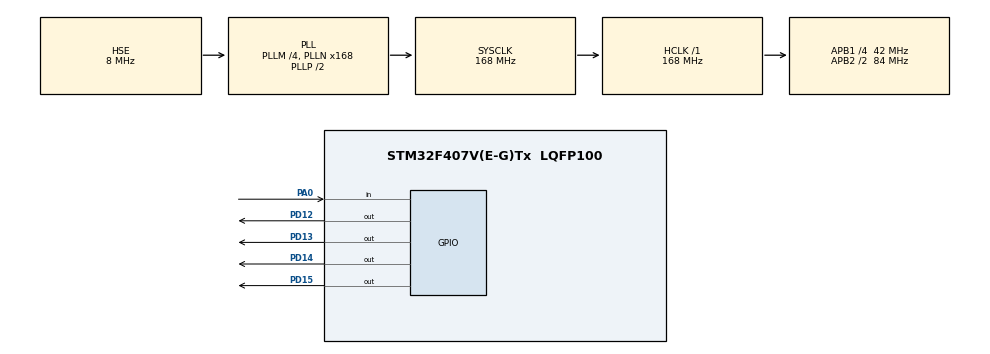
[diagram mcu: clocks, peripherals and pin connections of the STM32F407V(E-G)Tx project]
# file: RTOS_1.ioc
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FREERTOS.BinarySemaphores01=myBinarySem01,Dynamic,NULL
FREERTOS.Tasks01=defaultTask,0,128,StartDefaultTask,Default,NULL,Dynamic,NULL,NULL;task1,0,128,task1_fc,Default,NULL,Dynamic,NULL,NULL;task3,0,128,StartTask03,Default,NULL,Dynamic,NULL,NULL;task4,0,128,StartTask04,Default,NULL,Dynamic,NULL,NULL
FREERTOS.configUSE_NEWLIB_REENTRANT=1
Mcu.Family=STM32F4
Mcu.Name=STM32F407V(E-G)Tx
Mcu.Package=LQFP100
NVIC.PriorityGroup=NVIC_PRIORITYGROUP_4
NVIC.TIM1_UP_TIM10_IRQn=true\:0\:0\:false\:false\:true\:false\:false\:true
NVIC.TimeBase=TIM1_UP_TIM10_IRQn
NVIC.TimeBaseIP=TIM1
PA0-WKUP.Signal=GPIO_Input
PD12.Signal=GPIO_Output
PD13.Signal=GPIO_Output
PD14.Signal=GPIO_Output
PD15.Signal=GPIO_Output
PH0-OSC_IN.Mode=HSE-External-Oscillator
PH0-OSC_IN.Signal=RCC_OSC_IN
PH1-OSC_OUT.Mode=HSE-External-Oscillator
PH1-OSC_OUT.Signal=RCC_OSC_OUT
ProjectManager.HeapSize=0x200
ProjectManager.StackSize=0x400
ProjectManager.TargetToolchain=STM32CubeIDE
RCC.48MHZClocksFreq_Value=48000000
RCC.AHBFreq_Value=168000000
RCC.APB1CLKDivider=RCC_HCLK_DIV4
RCC.APB1Freq_Value=42000000
RCC.APB1TimFreq_Value=84000000
RCC.APB2CLKDivider=RCC_HCLK_DIV2
RCC.APB2Freq_Value=84000000
RCC.APB2TimFreq_Value=168000000
RCC.CortexFreq_Value=168000000
RCC.HCLKFreq_Value=168000000
RCC.HSE_VALUE=8000000
RCC.HSI_VALUE=16000000
RCC.LSE_VALUE=32768
RCC.PLLM=4
RCC.PLLN=168
RCC.PLLQ=7
RCC.PLLSourceVirtual=RCC_PLLSOURCE_HSE
RCC.SYSCLKFreq_VALUE=168000000
RCC.SYSCLKSource=RCC_SYSCLKSOURCE_PLLCLK
RCC.VCOOutputFreq_Value=336000000
VP_FREERTOS_VS_CMSIS_V1.Mode=CMSIS_V1
VP_SYS_VS_tim1.Mode=TIM1
board=STM32F407G-DISC1

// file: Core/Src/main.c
/* USER CODE BEGIN Header */
/**
  ******************************************************************************
  * @file           : main.c
  * @brief          : Main program body
  ******************************************************************************
  * @attention
  *
  * Copyright (c) 2024 STMicroelectronics.
  * All rights reserved.
  *
  * This software is licensed under terms that can be found in the LICENSE file
  * in the root directory of this software component.
  * If no LICENSE file comes with this software, it is provided AS-IS.
  *
  ******************************************************************************
  */
/* USER CODE END Header */
#include "main.h"
#include "cmsis_os.h"

/* USER CODE BEGIN Includes */
#include "stdio.h"
/* USER CODE END Includes */

osThreadId defaultTaskHandle;
osThreadId task1Handle;
osThreadId task3Handle;
osThreadId task4Handle;
osSemaphoreId myBinarySem01Handle;

void SystemClock_Config(void);
static void MX_GPIO_Init(void);
void StartDefaultTask(void const * argument);
void task1_fc(void const * argument);
void StartTask03(void const * argument);
void StartTask04(void const * argument);

/* USER CODE BEGIN 0 */
int _write(int file, char *ptr, int len)
{
	int DataIdx;

	for (DataIdx = 0; DataIdx < len; DataIdx++)
	{
		ITM_SendChar(*ptr++);
	}
	return len;
}
/* USER CODE END 0 */

int main(void)
{

  /* MCU Configuration--------------------------------------------------------*/

  /* Reset of all peripherals, Initializes the Flash interface and the Systick. */
  HAL_Init();

  /* Configure the system clock */
  SystemClock_Config();

  /* Initialize all configured peripherals */
  MX_GPIO_Init();

  /* Create the semaphores(s) */
  /* definition and creation of myBinarySem01 */
  osSemaphoreDef(myBinarySem01);
  myBinarySem01Handle = osSemaphoreCreate(osSemaphore(myBinarySem01), 1);

  /* Create the thread(s) */
  /* definition and creation of defaultTask */
  osThreadDef(defaultTask, StartDefaultTask, osPriorityNormal, 0, 128);
  defaultTaskHandle = osThreadCreate(osThread(defaultTask), NULL);

  /* definition and creation of task1 */
  osThreadDef(task1, task1_fc, osPriorityNormal, 0, 128);
  task1Handle = osThreadCreate(osThread(task1), NULL);

  /* definition and creation of task3 */
  osThreadDef(task3, StartTask03, osPriorityNormal, 0, 128);
  task3Handle = osThreadCreate(osThread(task3), NULL);

  /* definition and creation of task4 */
  osThreadDef(task4, StartTask04, osPriorityNormal, 0, 128);
  task4Handle = osThreadCreate(osThread(task4), NULL);

osThreadSuspend(task1Handle);
osThreadSuspend(task3Handle);
osThreadSuspend(task4Handle);
  /* Start scheduler */
  osKernelStart();

  /* We should never get here as control is now taken by the scheduler */
  /* Infinite loop */
  while (1)
  {

  }
}

void SystemClock_Config(void)
{
  RCC_OscInitTypeDef RCC_OscInitStruct = {0};
  RCC_ClkInitTypeDef RCC_ClkInitStruct = {0};

  /** Configure the main internal regulator output voltage
  */
  __HAL_RCC_PWR_CLK_ENABLE();
  __HAL_PWR_VOLTAGESCALING_CONFIG(PWR_REGULATOR_VOLTAGE_SCALE1);
  /** Initializes the RCC Oscillators according to the specified parameters
  * in the RCC_OscInitTypeDef structure.
  */
  RCC_OscInitStruct.OscillatorType = RCC_OSCILLATORTYPE_HSE;
  RCC_OscInitStruct.HSEState = RCC_HSE_ON;
  RCC_OscInitStruct.PLL.PLLState = RCC_PLL_ON;
  RCC_OscInitStruct.PLL.PLLSource = RCC_PLLSOURCE_HSE;
  RCC_OscInitStruct.PLL.PLLM = 4;
  RCC_OscInitStruct.PLL.PLLN = 168;
  RCC_OscInitStruct.PLL.PLLP = RCC_PLLP_DIV2;
  RCC_OscInitStruct.PLL.PLLQ = 7;
  if (HAL_RCC_OscConfig(&RCC_OscInitStruct) != HAL_OK)
  {
    Error_Handler();
  }
  /** Initializes the CPU, AHB and APB buses clocks
  */
  RCC_ClkInitStruct.ClockType = RCC_CLOCKTYPE_HCLK|RCC_CLOCKTYPE_SYSCLK
                              |RCC_CLOCKTYPE_PCLK1|RCC_CLOCKTYPE_PCLK2;
  RCC_ClkInitStruct.SYSCLKSource = RCC_SYSCLKSOURCE_PLLCLK;
  RCC_ClkInitStruct.AHBCLKDivider = RCC_SYSCLK_DIV1;
  RCC_ClkInitStruct.APB1CLKDivider = RCC_HCLK_DIV4;
  RCC_ClkInitStruct.APB2CLKDivider = RCC_HCLK_DIV2;

  if (HAL_RCC_ClockConfig(&RCC_ClkInitStruct, FLASH_LATENCY_5) != HAL_OK)
  {
    Error_Handler();
  }
}

static void MX_GPIO_Init(void)
{
  GPIO_InitTypeDef GPIO_InitStruct = {0};

  /* GPIO Ports Clock Enable */
  __HAL_RCC_GPIOH_CLK_ENABLE();
  __HAL_RCC_GPIOA_CLK_ENABLE();
  __HAL_RCC_GPIOD_CLK_ENABLE();

  /*Configure GPIO pin Output Level */
  HAL_GPIO_WritePin(GPIOD, GPIO_PIN_12|GPIO_PIN_13|GPIO_PIN_14|GPIO_PIN_15, GPIO_PIN_RESET);

  /*Configure GPIO pin : PA0 */
  GPIO_InitStruct.Pin = GPIO_PIN_0;
  GPIO_InitStruct.Mode = GPIO_MODE_INPUT;
  GPIO_InitStruct.Pull = GPIO_NOPULL;
  HAL_GPIO_Init(GPIOA, &GPIO_InitStruct);

  /*Configure GPIO pins : PD12 PD13 PD14 PD15 */
  GPIO_InitStruct.Pin = GPIO_PIN_12|GPIO_PIN_13|GPIO_PIN_14|GPIO_PIN_15;
  GPIO_InitStruct.Mode = GPIO_MODE_OUTPUT_PP;
  GPIO_InitStruct.Pull = GPIO_NOPULL;
  GPIO_InitStruct.Speed = GPIO_SPEED_FREQ_LOW;
  HAL_GPIO_Init(GPIOD, &GPIO_InitStruct);

}

/* USER CODE BEGIN 4 */
// interruotion
 //void HAL_GPIO_EXTI_Callback(uint16_t GPIO_Pin)
//{
  /* Prevent unused argument(s) compilation warning */
//if(GPIO_Pin==GPIO_PIN_0)//
//{
//	osThreadResume(ledHandle);
//	printf("led task resumed");
//}
  /* NOTE: This function Should not be modified, when the callback is needed,
           the HAL_GPIO_EXTI_Callback could be implemented in the user file
   */
//}

/* USER CODE END 4 */

void StartDefaultTask(void const * argument)
{
  /* USER CODE BEGIN 5 */

  /* Infinite loop */
  for(;;)
  {

HAL_GPIO_TogglePin(GPIOD, GPIO_PIN_15);
osDelay(1000);
osThreadResume(task1Handle);
osThreadSuspend(defaultTaskHandle);
  }
  /* USER CODE END 5 */
}

void task1_fc(void const * argument)
{
  /* USER CODE BEGIN task1_fc */
  /* Infinite loop */
	 for(;;)
	  {

	HAL_GPIO_TogglePin(GPIOD, GPIO_PIN_14);
	osDelay(1000);
	osThreadResume(task3Handle);
	osThreadSuspend(task1Handle);
	  }
  /* USER CODE END task1_fc */
}

void StartTask03(void const * argument)
{
  /* USER CODE BEGIN StartTask03 */
  /* Infinite loop */
	 for(;;)
	  {

	HAL_GPIO_TogglePin(GPIOD, GPIO_PIN_13);
	osDelay(1000);
	osThreadResume(task4Handle);
	osThreadSuspend(task3Handle);
	  }
  /* USER CODE END StartTask03 */
}

void StartTask04(void const * argument)
{
  /* USER CODE BEGIN StartTask04 */
  /* Infinite loop */
	 for(;;)
	  {

	HAL_GPIO_TogglePin(GPIOD, GPIO_PIN_12);
	osDelay(1000);
	osThreadResume(defaultTaskHandle);
	osThreadSuspend(task4Handle);
	  }
  /* USER CODE END StartTask04 */
}

void HAL_TIM_PeriodElapsedCallback(TIM_HandleTypeDef *htim)
{
  if (htim->Instance == TIM1) {
    HAL_IncTick();
  }
}

void Error_Handler(void)
{
  __disable_irq();
  while (1)
  {
  }
}
